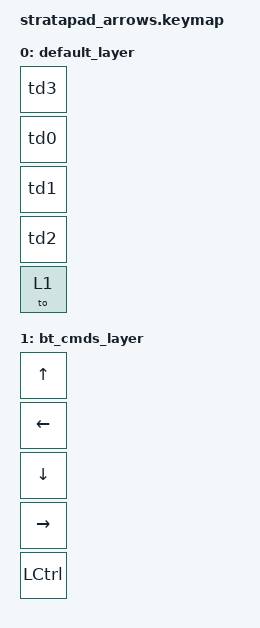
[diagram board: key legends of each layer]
#include <behaviors.dtsi>
#include <dt-bindings/zmk/keys.h>
#include <dt-bindings/zmk/bt.h>

#define DEFAULT 0
#define USE  1

#define NONE 0

/ {
    behaviors {
        td0: tap_dance_0 {
            compatible = "zmk,behavior-tap-dance";
            #binding-cells = <0>;
            tapping-term-ms = <300>;
            bindings = <&kp LEFT>, <&bt BT_SEL 0>;
        };
        td1: tap_dance_1 {
            compatible = "zmk,behavior-tap-dance";
            #binding-cells = <0>;
            tapping-term-ms = <300>;
            bindings = <&kp DOWN>, <&bt BT_SEL 1>;
        };
        td2: tap_dance_2 {
            compatible = "zmk,behavior-tap-dance";
            #binding-cells = <0>;
            tapping-term-ms = <300>;
            bindings = <&kp RIGHT>, <&bt BT_SEL 2>;
        };
        td3: tap_dance_3 {
            compatible = "zmk,behavior-tap-dance";
            #binding-cells = <0>;
            tapping-term-ms = <300>;
            bindings = <&kp UP>, <&bt BT_CLR>;
        };
    };

    keymap {
        compatible = "zmk,keymap";

        default_layer {
            bindings = <
				&td3
				&td0
				&td1
				&td2
				&to 1
            >;
        };
	    bt_cmds_layer {
            bindings = <
				&kp UP
				&kp LEFT
				&kp DOWN
				&kp RIGHT
				&kp LCTRL
            >;
        };
    };
};
